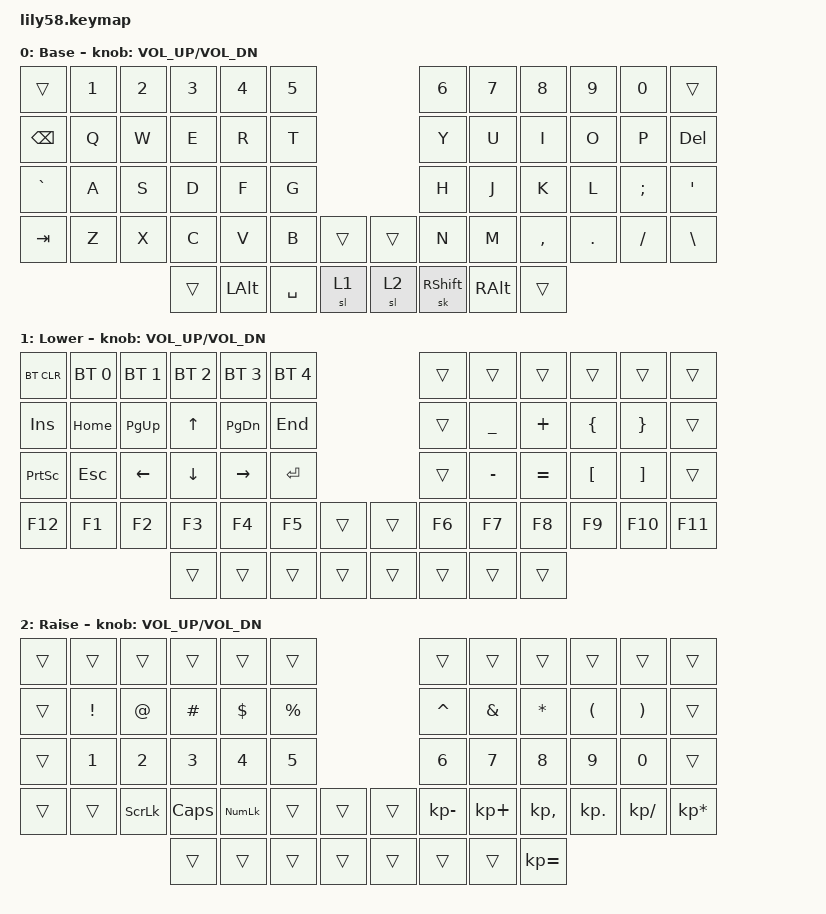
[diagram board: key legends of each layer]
/*
 * Copyright (c) 2020 The ZMK Contributors
 *
 * SPDX-License-Identifier: MIT
 */

#include <behaviors.dtsi>
#include <dt-bindings/zmk/bt.h>
#include <dt-bindings/zmk/keys.h>

/ {
    behaviors {
        hml: home_row_mod_left {
            compatible = "zmk,behavior-hold-tap";
            bindings = <&kp>, <&kp>;

            #binding-cells = <2>;
            tapping-term-ms = <140>;
            quick-tap-ms = <175>;
            require-prior-idle-ms = <75>;
            flavor = "balanced";
            hold-trigger-key-positions = <6 7 8 9 10 11 18 19 20 21 22 23 30 31 32 33 34 35 43 44 45 46 47 48 49 54 55 56 57>;
            hold-trigger-on-release;
        };

        hmr: home_row_mod_right {
            compatible = "zmk,behavior-hold-tap";
            bindings = <&kp>, <&kp>;

            #binding-cells = <2>;
            tapping-term-ms = <140>;
            quick-tap-ms = <175>;
            require-prior-idle-ms = <75>;
            flavor = "balanced";
            hold-trigger-key-positions = <0 1 2 3 4 5 12 13 14 15 16 17 24 25 26 27 28 29 36 37 38 39 40 41 42 50 51 52 53>;
            hold-trigger-on-release;
        };

        hml_skqr: home_row_mod_left_sk {
            compatible = "zmk,behavior-hold-tap";
            bindings = <&skqr>, <&kp>;

            #binding-cells = <2>;
            tapping-term-ms = <140>;
            quick-tap-ms = <175>;
            require-prior-idle-ms = <75>;
            flavor = "balanced";
            hold-trigger-key-positions = <6 7 8 9 10 11 18 19 20 21 22 23 30 31 32 33 34 35 43 44 45 46 47 48 49 54 55 56 57>;
            hold-trigger-on-release;
        };

        hmr_skqr: home_row_mod_right_sk {
            compatible = "zmk,behavior-hold-tap";
            bindings = <&skqr>, <&kp>;

            #binding-cells = <2>;
            tapping-term-ms = <140>;
            quick-tap-ms = <175>;
            require-prior-idle-ms = <75>;
            flavor = "balanced";
            hold-trigger-key-positions = <0 1 2 3 4 5 12 13 14 15 16 17 24 25 26 27 28 29 36 37 38 39 40 41 42 50 51 52 53>;
            hold-trigger-on-release;
        };

        hml_mo: home_row_mo_left {
            compatible = "zmk,behavior-hold-tap";
            bindings = <&mo>, <&kp>;

            #binding-cells = <2>;
            tapping-term-ms = <140>;
            quick-tap-ms = <175>;
            require-prior-idle-ms = <75>;
            flavor = "balanced";
            hold-trigger-key-positions = <6 7 8 9 10 11 18 19 20 21 22 23 30 31 32 33 34 35 43 44 45 46 47 48 49 54 55 56 57>;
            hold-trigger-on-release;
        };

        hmr_mo: home_row_mo_right {
            compatible = "zmk,behavior-hold-tap";
            bindings = <&mo>, <&kp>;

            #binding-cells = <2>;
            tapping-term-ms = <140>;
            quick-tap-ms = <175>;
            require-prior-idle-ms = <75>;
            flavor = "balanced";
            hold-trigger-on-release;
            hold-trigger-key-positions = <0 1 2 3 4 5 12 13 14 15 16 17 24 25 26 27 28 29 36 37 38 39 40 41 42 50 51 52 53>;
        };

        aw: alts_word {
            compatible = "zmk,behavior-caps-word";
            #binding-cells = <0>;
            continue-list = <A B C D E F G H I J K L M N O P Q R S T U V W X Y Z>;
            mods = <(MOD_LALT)>;
        };

        nw: nums_word {
            compatible = "zmk,behavior-caps-word";
            #binding-cells = <0>;
            continue-list = <NUMBER_1 NUMBER_2 NUMBER_3 NUMBER_4 NUMBER_5 NUMBER_6 NUMBER_7 NUMBER_8 NUMBER_9 NUMBER_0>;
        };

        skqr: sticky_key_quick {
            compatible = "zmk,behavior-sticky-key";
            bindings = <&kp>;
            #binding-cells = <1>;
            quick-release;
            lazy;
            release-after-ms = <1000>;
            ignore-modifiers;
        };

        hmr_sl: home_row_sl_right {
            compatible = "zmk,behavior-hold-tap";
            bindings = <&sl>, <&kp>;

            #binding-cells = <2>;
            tapping-term-ms = <140>;
            quick-tap-ms = <175>;
            require-prior-idle-ms = <75>;
            flavor = "balanced";
            hold-trigger-on-release;
            hold-trigger-key-positions = <0 1 2 3 4 5 12 13 14 15 16 17 24 25 26 27 28 29 36 37 38 39 40 41 42 50 51 52 53>;
        };
    };

    combos {
        compatible = "zmk,combos";

        caps_word {
            bindings = <&caps_word>;
            key-positions = <53 54>;
        };

        alts_word {
            bindings = <&aw>;
            key-positions = <51 56>;
        };
    };

    keymap {
        compatible = "zmk,keymap";

        default_layer {
            // ------------------------------------------------------------------------------------------------------------
            // |  ESC  |  1  |  2  |  3   |  4   |  5   |                   |  6   |  7    |  8    |  9   |   0   |   `   |
            // |  TAB  |  Q  |  W  |  E   |  R   |  T   |                   |  Y   |  U    |  I    |  O   |   P   |   -   |
            // |  CTRL |  A  |  S  |  D   |  F   |  G   |                   |  H   |  J    |  K    |  L   |   ;   |   '   |
            // | SHIFT |  Z  |  X  |  C   |  V   |  B   |   "["  |  |  "]"  |  N   |  M    |  ,    |  .   |   /   | SHIFT |
            //                     | ALT  | GUI  | LOWER|  SPACE |  | ENTER | RAISE| BSPC  | GUI   |

            display-name = "Base";
            bindings = <
&trans         &kp N1  &kp N2  &kp N3  &kp N4    &kp N5                       &kp N6     &kp N7    &kp N8     &kp N9   &kp N0     &trans
&kp BACKSPACE  &kp Q   &kp W   &kp E   &kp R     &kp T                        &kp Y      &kp U     &kp I      &kp O    &kp P      &kp DEL
&kp GRAVE      &kp A   &kp S   &kp D   &kp F     &kp G                        &kp H      &kp J     &kp K      &kp L    &kp SEMI   &kp SQT
&kp TAB        &kp Z   &kp X   &kp C   &kp V     &kp B      &trans    &trans  &kp N      &kp M     &kp COMMA  &kp DOT  &kp SLASH  &kp BACKSLASH
                               &trans  &kp LALT  &kp SPACE  &sl 1     &sl 2   &sk RSHFT  &kp RALT  &trans
            >;

            sensor-bindings = <&inc_dec_kp C_VOL_UP C_VOL_DN>;
        };

        lower_layer {
            // ------------------------------------------------------------------------------------------------------------
            // | BTCLR | BT1 | BT2 |  BT3 |  BT4 |  BT5 |                   |      |       |       |      |       |       |
            // |  F1   |  F2 |  F3 |  F4  |  F5  |  F6  |                   |  F7  |  F8   |  F9   |  F10 |  F11  |  F12  |
            // |   `   |  !  |  @  |  #   |  $   |  %   |                   |  ^   |  &    |  *    |  (   |   )   |   ~   |
            // |       |     |     |      |      |      |        |  |       |      |  _    |  +    |  {   |   }   |  "|"  |
            //                     |      |      |      |        |  |       |      |       |       |

            display-name = "Lower";
            bindings = <
&bt BT_CLR  &bt BT_SEL 0  &bt BT_SEL 1  &bt BT_SEL 2  &bt BT_SEL 3  &bt BT_SEL 4                    &trans  &trans     &trans     &trans    &trans    &trans
&kp INS     &kp HOME      &kp PG_UP     &kp UP_ARROW  &kp PG_DN     &kp END                         &trans  &kp UNDER  &kp PLUS   &kp LBRC  &kp RBRC  &trans
&kp PSCRN   &kp ESC       &kp LEFT      &kp DOWN      &kp RIGHT     &kp ENTER                       &trans  &kp MINUS  &kp EQUAL  &kp LBKT  &kp RBKT  &trans
&kp F12     &kp F1        &kp F2        &kp F3        &kp F4        &kp F5        &trans    &trans  &kp F6  &kp F7     &kp F8     &kp F9    &kp F10   &kp F11
                                        &trans        &trans        &trans        &trans    &trans  &trans  &trans     &trans
            >;

            sensor-bindings = <&inc_dec_kp C_VOL_UP C_VOL_DN>;
        };

        raise_layer {
            // ------------------------------------------------------------------------------------------------------------
            // |       |     |     |      |      |      |                   |      |       |       |      |       |       |
            // |   `   |  1  |  2  |  3   |  4   |  5   |                   |  6   |   7   |   8   |  9   |   0   |       |
            // |   F1  |  F2 |  F3 |  F4  |  F5  |  F6  |                   |      |   <-  |   v   |  ^   |  ->   |       |
            // |   F7  |  F8 |  F9 |  F10 |  F11 |  F12 |        |  |       |  +   |   -   |   =   |  [   |   ]   |   \   |
            //                     |      |      |      |        |  |       |      |       |       |

            display-name = "Raise";
            bindings = <
&trans  &trans    &trans          &trans        &trans          &trans                         &trans        &trans       &trans        &trans      &trans        &trans
&trans  &kp EXCL  &kp AT          &kp HASH      &kp DOLLAR      &kp PERCENT                    &kp CARET     &kp AMPS     &kp ASTRK     &kp LPAR    &kp RPAR      &trans
&trans  &kp N1    &kp N2          &kp N3        &kp N4          &kp N5                         &kp N6        &kp N7       &kp N8        &kp N9      &kp N0        &trans
&trans  &trans    &kp SCROLLLOCK  &kp CAPSLOCK  &kp KP_NUMLOCK  &trans       &trans    &trans  &kp KP_MINUS  &kp KP_PLUS  &kp KP_COMMA  &kp KP_DOT  &kp KP_SLASH  &kp KP_ASTERISK
                                  &trans        &trans          &trans       &trans    &trans  &trans        &trans       &kp KP_EQUAL
            >;

            sensor-bindings = <&inc_dec_kp C_VOL_UP C_VOL_DN>;
        };

        extra_1 { status = "reserved"; };

        extra_2 { status = "reserved"; };

        extra_3 { status = "reserved"; };
    };
};
